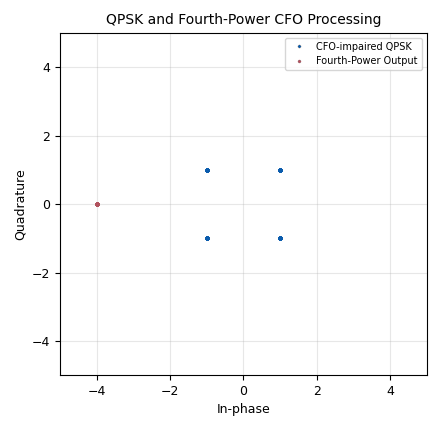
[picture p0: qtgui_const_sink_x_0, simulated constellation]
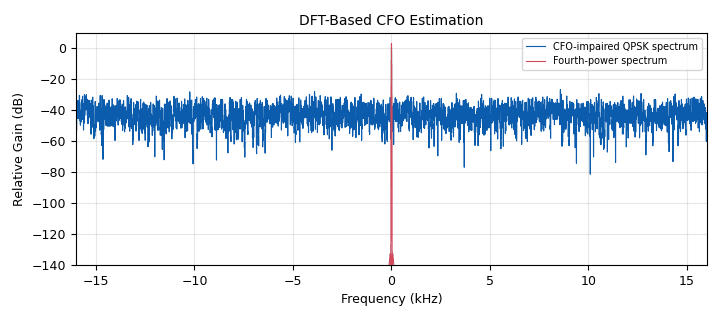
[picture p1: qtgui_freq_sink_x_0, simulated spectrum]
options:
  parameters:
    generate_options: qt_gui
    id: exp10
    output_language: python
    title: M-th Power CFO Estimation in Time and Frequency
  states: {}

blocks:
- name: freq_offset
  id: variable_qtgui_range
  parameters:
    label: Carrier Frequency Offset (Hz)
    start: '-500'
    step: '50'
    stop: '500'
    value: '0'
  states: {}
- name: samp_rate
  id: variable
  parameters:
    value: '32000'
  states: {}
- name: analog_random_source_x_0
  id: analog_random_source_x
  parameters:
    max: '2'
    min: '0'
    num_samps: '1000'
    repeat: 'True'
    type: byte
  states: {}
- name: analog_random_source_x_0_0
  id: analog_random_source_x
  parameters:
    max: '2'
    min: '0'
    num_samps: '1000'
    repeat: 'True'
    type: byte
  states: {}
- name: analog_sig_source_x_0
  id: analog_sig_source_x
  parameters:
    amp: '1'
    freq: freq_offset
    offset: '0'
    phase: '0'
    samp_rate: samp_rate
    type: complex
    waveform: analog.GR_COS_WAVE
  states: {}
- name: blocks_complex_to_arg_0
  id: blocks_complex_to_arg
  parameters: {}
  states: {}
- name: blocks_delay_0
  id: blocks_delay
  parameters:
    delay: '1'
    type: complex
  states: {}
- name: blocks_exponentiate_const_cci_0
  id: blocks_exponentiate_const_cci
  parameters:
    exponent: '4'
  states: {}
- name: blocks_float_to_complex_0
  id: blocks_float_to_complex
  parameters: {}
  states: {}
- name: blocks_multiply_conjugate_cc_0
  id: blocks_multiply_conjugate_cc
  parameters: {}
  states: {}
- name: blocks_multiply_const_vxx_1
  id: blocks_multiply_const_vxx
  parameters:
    const: samp_rate / (8*math.pi)
    type: float
  states: {}
- name: blocks_multiply_xx_0
  id: blocks_multiply_xx
  parameters:
    type: complex
  states: {}
- name: blocks_throttle2_0
  id: blocks_throttle2
  parameters:
    samples_per_second: samp_rate
    type: complex
  states: {}
- name: digital_chunks_to_symbols_xx_0
  id: digital_chunks_to_symbols_xx
  parameters:
    dimension: '1'
    in_type: byte
    out_type: float
    symbol_table: '[-1,1]'
  states: {}
- name: digital_chunks_to_symbols_xx_0_0
  id: digital_chunks_to_symbols_xx
  parameters:
    dimension: '1'
    in_type: byte
    out_type: float
    symbol_table: '[-1,1]'
  states: {}
- name: import_0
  id: import
  parameters:
    imports: import math
  states: {}
- name: qtgui_const_sink_x_0
  id: qtgui_const_sink_x
  parameters:
    grid: 'True'
    label1: CFO-impaired QPSK
    label2: Fourth-Power Output
    name: QPSK and Fourth-Power CFO Processing
    nconnections: '2'
    size: '1024'
    type: complex
    width1: '5'
    width2: '5'
    xmax: '5'
    xmin: '-5'
    ymax: '5'
    ymin: '-5'
  states: {}
- name: qtgui_freq_sink_x_0
  id: qtgui_freq_sink_x
  parameters:
    bw: samp_rate
    color1: '"green"'
    fc: '0'
    fftsize: '4096'
    label1: CFO-impaired QPSK spectrum
    label2: Fourth-power spectrum
    name: DFT-Based CFO Estimation
    nconnections: '2'
    type: complex
    width2: '2'
  states: {}
- name: qtgui_number_sink_0
  id: qtgui_number_sink
  parameters:
    graph_type: qtgui.NUM_GRAPH_HORIZ
    label1: Frequency Estimate (Hz)
    max: '180'
    min: '-180'
    name: Estimated CFO (Hz)
    type: float
  states: {}

connections:
- [analog_random_source_x_0, '0', digital_chunks_to_symbols_xx_0, '0']
- [analog_random_source_x_0_0, '0', digital_chunks_to_symbols_xx_0_0, '0']
- [analog_sig_source_x_0, '0', blocks_multiply_xx_0, '1']
- [blocks_complex_to_arg_0, '0', blocks_multiply_const_vxx_1, '0']
- [blocks_delay_0, '0', blocks_multiply_conjugate_cc_0, '1']
- [blocks_exponentiate_const_cci_0, '0', blocks_delay_0, '0']
- [blocks_exponentiate_const_cci_0, '0', blocks_multiply_conjugate_cc_0, '0']
- [blocks_exponentiate_const_cci_0, '0', qtgui_const_sink_x_0, '1']
- [blocks_exponentiate_const_cci_0, '0', qtgui_freq_sink_x_0, '1']
- [blocks_float_to_complex_0, '0', blocks_throttle2_0, '0']
- [blocks_multiply_conjugate_cc_0, '0', blocks_complex_to_arg_0, '0']
- [blocks_multiply_const_vxx_1, '0', qtgui_number_sink_0, '0']
- [blocks_multiply_xx_0, '0', blocks_exponentiate_const_cci_0, '0']
- [blocks_multiply_xx_0, '0', qtgui_const_sink_x_0, '0']
- [blocks_multiply_xx_0, '0', qtgui_freq_sink_x_0, '0']
- [blocks_throttle2_0, '0', blocks_multiply_xx_0, '0']
- [digital_chunks_to_symbols_xx_0, '0', blocks_float_to_complex_0, '0']
- [digital_chunks_to_symbols_xx_0_0, '0', blocks_float_to_complex_0, '1']

metadata:
  file_format: 1
  grc_version: 3.10.12.0
